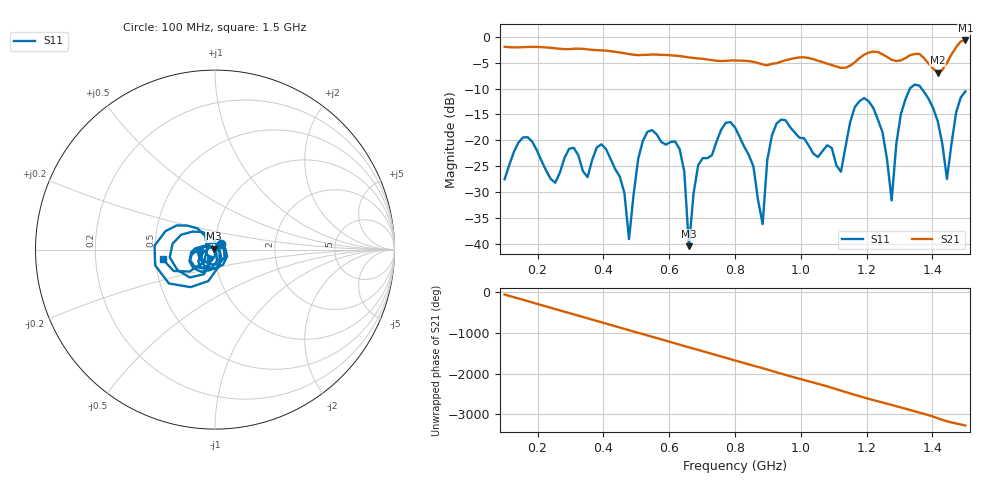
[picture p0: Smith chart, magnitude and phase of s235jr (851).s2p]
! NanoVNA-App
! Date: 2025-09-25 15:10:47
! Start: 100MHz Stop: 1,5GHz Points: 101
! S-Parameter data: F S11 S21 S12 S22
# Hz S RI R 50
!  Frequency  S11_Real  S11_Imag  S21_Real  S21_Imag  S12_Real  S12_Imag  S22_Real  S22_Imag
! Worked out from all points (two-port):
!   101 points, 100 MHz to 1.5 GHz, reference 50 ohm
!   highest |S21| = -0.75 dB at 1.5 GHz (marker M1); lowest = -7.0 dB at 1.416 GHz (marker M2)
!   |S21| within 3 dB of the highest: start of sweep to 631.7 MHz; 1.187 GHz to 1.257 GHz (70.62 MHz wide, 5.78 % of centre) (the widest 2 of 4)
!   lowest |S11| = -40.4 dB at 660 MHz (marker M3), VSWR 1.02, Z = 49.2 + j0.552 ohm
!   |S11| at or under -10 dB: start of sweep to 1.332 GHz; 1.367 GHz to end of sweep
!   S12 and S22 are empty: the file has one direction only
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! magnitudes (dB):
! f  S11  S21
! 100 MHz  -27.5  -2.0
! 156 MHz  -19.4  -2.0
! 338 MHz  -25.9  -2.4
! 408 MHz  -21.7  -2.7
! 478 MHz  -39.0  -3.4
! 520 MHz  -20.1  -3.5
! 576 MHz  -20.3  -3.5
! 632 MHz  -21.7  -3.7
! 660 MHz  -40.4  -4.0
! 688 MHz  -24.8  -4.2
! 800 MHz  -17.5  -4.6
! 884 MHz  -36.1  -5.4
! 926 MHz  -16.8  -5.1
! 1.038 GHz  -22.5  -4.3
! 1.122 GHz  -26.0  -6.0
! 1.192 GHz  -11.8  -3.5
! 1.248 GHz  -18.4  -3.4
! 1.276 GHz  -31.6  -4.5
! 1.332 GHz  -9.9  -3.6
! 1.416 GHz  -16.3  -7.0
! 1.444 GHz  -27.4  -5.1
! 1.5 GHz  -10.5  -0.7
